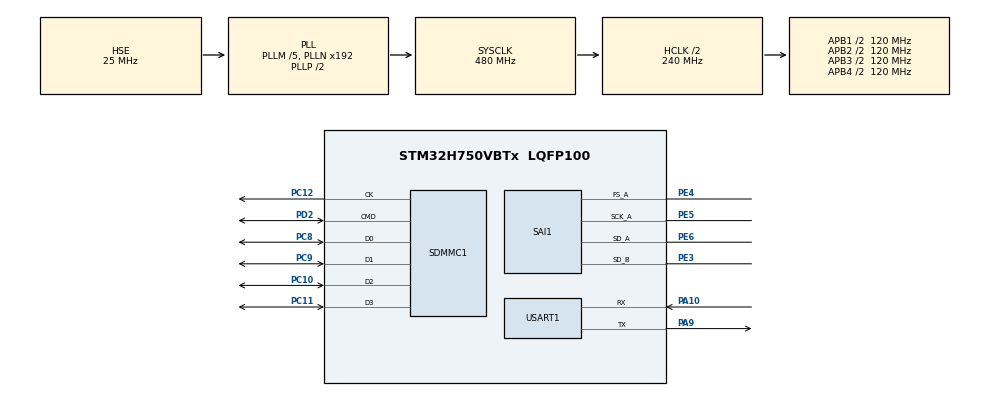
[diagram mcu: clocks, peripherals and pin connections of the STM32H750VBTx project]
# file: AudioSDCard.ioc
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CORTEX_M7.default_mode_Activation=1
Dma.Request0=USART1_TX
Dma.Request1=SAI1_A
Dma.Request2=SAI1_B
Dma.SAI1_A.1.Direction=DMA_MEMORY_TO_PERIPH
Dma.SAI1_A.1.EventEnable=DISABLE
Dma.SAI1_A.1.FIFOMode=DMA_FIFOMODE_DISABLE
Dma.SAI1_A.1.Instance=DMA1_Stream1
Dma.SAI1_A.1.MemDataAlignment=DMA_MDATAALIGN_WORD
Dma.SAI1_A.1.MemInc=DMA_MINC_ENABLE
Dma.SAI1_A.1.Mode=DMA_CIRCULAR
Dma.SAI1_A.1.PeriphDataAlignment=DMA_PDATAALIGN_WORD
Dma.SAI1_A.1.PeriphInc=DMA_PINC_DISABLE
Dma.SAI1_A.1.Polarity=HAL_DMAMUX_REQ_GEN_RISING
Dma.SAI1_A.1.Priority=DMA_PRIORITY_HIGH
Dma.SAI1_A.1.RequestNumber=1
Dma.SAI1_A.1.SignalID=NONE
Dma.SAI1_A.1.SyncEnable=DISABLE
Dma.SAI1_A.1.SyncPolarity=HAL_DMAMUX_SYNC_NO_EVENT
Dma.SAI1_A.1.SyncRequestNumber=1
Dma.SAI1_A.1.SyncSignalID=NONE
Dma.SAI1_B.2.Direction=DMA_PERIPH_TO_MEMORY
Dma.SAI1_B.2.EventEnable=DISABLE
Dma.SAI1_B.2.FIFOMode=DMA_FIFOMODE_DISABLE
Dma.SAI1_B.2.Instance=DMA1_Stream2
Dma.SAI1_B.2.MemDataAlignment=DMA_MDATAALIGN_WORD
Dma.SAI1_B.2.MemInc=DMA_MINC_ENABLE
Dma.SAI1_B.2.Mode=DMA_CIRCULAR
Dma.SAI1_B.2.PeriphDataAlignment=DMA_PDATAALIGN_WORD
Dma.SAI1_B.2.PeriphInc=DMA_PINC_DISABLE
Dma.SAI1_B.2.Polarity=HAL_DMAMUX_REQ_GEN_RISING
Dma.SAI1_B.2.Priority=DMA_PRIORITY_HIGH
Dma.SAI1_B.2.RequestNumber=1
Dma.SAI1_B.2.SignalID=NONE
Dma.SAI1_B.2.SyncEnable=DISABLE
Dma.SAI1_B.2.SyncPolarity=HAL_DMAMUX_SYNC_NO_EVENT
Dma.SAI1_B.2.SyncRequestNumber=1
Dma.SAI1_B.2.SyncSignalID=NONE
Dma.USART1_TX.0.Direction=DMA_MEMORY_TO_PERIPH
Dma.USART1_TX.0.EventEnable=DISABLE
Dma.USART1_TX.0.FIFOMode=DMA_FIFOMODE_DISABLE
Dma.USART1_TX.0.Instance=DMA1_Stream0
Dma.USART1_TX.0.MemDataAlignment=DMA_MDATAALIGN_BYTE
Dma.USART1_TX.0.MemInc=DMA_MINC_ENABLE
Dma.USART1_TX.0.Mode=DMA_NORMAL
Dma.USART1_TX.0.PeriphDataAlignment=DMA_PDATAALIGN_BYTE
Dma.USART1_TX.0.PeriphInc=DMA_PINC_DISABLE
Dma.USART1_TX.0.Polarity=HAL_DMAMUX_REQ_GEN_RISING
Dma.USART1_TX.0.Priority=DMA_PRIORITY_LOW
Dma.USART1_TX.0.RequestNumber=1
Dma.USART1_TX.0.SignalID=NONE
Dma.USART1_TX.0.SyncEnable=DISABLE
Dma.USART1_TX.0.SyncPolarity=HAL_DMAMUX_SYNC_NO_EVENT
Dma.USART1_TX.0.SyncRequestNumber=1
Dma.USART1_TX.0.SyncSignalID=NONE
FATFS.USE_DMA_CODE_SD=1
FATFS._USE_LFN=2
Mcu.Family=STM32H7
Mcu.Name=STM32H750VBTx
Mcu.Package=LQFP100
NVIC.DMA1_Stream0_IRQn=true\:0\:0\:false\:false\:true\:false\:true\:true
NVIC.DMA1_Stream1_IRQn=true\:0\:0\:false\:false\:true\:false\:true\:true
NVIC.DMA1_Stream2_IRQn=true\:0\:0\:false\:false\:true\:false\:true\:true
NVIC.PriorityGroup=NVIC_PRIORITYGROUP_4
NVIC.SAI1_IRQn=true\:0\:0\:false\:false\:true\:true\:true\:true
NVIC.SDMMC1_IRQn=true\:0\:0\:false\:false\:true\:true\:true\:true
NVIC.USART1_IRQn=true\:0\:0\:false\:false\:true\:true\:true\:true
PA10.Mode=Asynchronous
PA10.Signal=USART1_RX
PA9.Mode=Asynchronous
PA9.Signal=USART1_TX
PC10.GPIO_PuPd=GPIO_PULLUP
PC10.Mode=SD_4_bits_Wide_bus
PC10.Signal=SDMMC1_D2
PC11.GPIO_PuPd=GPIO_PULLUP
PC11.Mode=SD_4_bits_Wide_bus
PC11.Signal=SDMMC1_D3
PC12.GPIO_PuPd=GPIO_PULLUP
PC12.Mode=SD_4_bits_Wide_bus
PC12.Signal=SDMMC1_CK
PC8.GPIO_PuPd=GPIO_PULLUP
PC8.Mode=SD_4_bits_Wide_bus
PC8.Signal=SDMMC1_D0
PC9.GPIO_PuPd=GPIO_PULLUP
PC9.Mode=SD_4_bits_Wide_bus
PC9.Signal=SDMMC1_D1
PD2.GPIO_PuPd=GPIO_PULLUP
PD2.Mode=SD_4_bits_Wide_bus
PD2.Signal=SDMMC1_CMD
PE3.Mode=SAI_B_SyncSlave
PE3.Signal=SAI1_SD_B
PE4.Mode=SAI_A_Master
PE4.Signal=SAI1_FS_A
PE5.Mode=SAI_A_Master
PE5.Signal=SAI1_SCK_A
PE6.Mode=SAI_A_Master
PE6.Signal=SAI1_SD_A
PH0-OSC_IN\ (PH0).Mode=HSE-External-Oscillator
PH0-OSC_IN\ (PH0).Signal=RCC_OSC_IN
PH1-OSC_OUT\ (PH1).Mode=HSE-External-Oscillator
PH1-OSC_OUT\ (PH1).Signal=RCC_OSC_OUT
ProjectManager.HeapSize=0x200
ProjectManager.StackSize=0x400
ProjectManager.TargetToolchain=STM32CubeIDE
RCC.ADCFreq_Value=50390625
RCC.APB1Freq_Value=120000000
RCC.APB2Freq_Value=120000000
RCC.APB3Freq_Value=120000000
RCC.APB4Freq_Value=120000000
RCC.CortexFreq_Value=480000000
RCC.D1PPRE=RCC_APB3_DIV2
RCC.D2PPRE1=RCC_APB1_DIV2
RCC.D2PPRE2=RCC_APB2_DIV2
RCC.D3PPRE=RCC_APB4_DIV2
RCC.DIVM1=5
RCC.DIVM3=5
RCC.DIVN1=192
RCC.DIVN3=49
RCC.DIVP3=20
RCC.DIVQ1=7
RCC.HCLKFreq_Value=240000000
RCC.HPRE=RCC_HCLK_DIV2
RCC.PLL3FRACN=1245
RCC.PLLFRACN=0
RCC.PLLSourceVirtual=RCC_PLLSOURCE_HSE
RCC.SAI1CLockSelection=RCC_SAI1CLKSOURCE_PLL3
RCC.SYSCLKFreq_VALUE=480000000
RCC.SYSCLKSource=RCC_SYSCLKSOURCE_PLLCLK
RCC.USBFreq_Value=137142857.14285713
SAI1.AudioFrequency-SAI_A_Master=SAI_AUDIO_FREQUENCY_48K
SAI1.BasicDataSize-SAI_A_Master=SAI_PROTOCOL_DATASIZE_24BIT
SAI1.BasicDataSize-SAI_B_SyncSlave=SAI_PROTOCOL_DATASIZE_24BIT
SAI1.ErrorAudioFreq-SAI_A_Master=0.0 %
SAI1.InitProtocol-SAI_A_Master=Enable
SAI1.InitProtocol-SAI_B_SyncSlave=Enable
SAI1.Instance-SAI_A_Master=SAI$Index_Block_A
SAI1.Instance-SAI_B_SyncSlave=SAI$Index_Block_B
SAI1.MClockEnable=SAI_MASTERCLOCK_DISABLE
SAI1.OutputDrive-SAI_A_Master=SAI_OUTPUTDRIVE_ENABLE
SAI1.RealAudioFreq-SAI_A_Master=47.999 KHz
SAI1.VirtualMode-SAI_A_Master=VM_MASTER
SAI1.VirtualMode-SAI_B_SyncSlave=VM_SLAVE
SAI1.VirtualProtocol-SAI_A_BASIC=VM_BASIC_PROTOCOL
SAI1.VirtualProtocol-SAI_B_BASIC=VM_BASIC_PROTOCOL
SDMMC1.ClockDiv=6
USART1.VirtualMode-Asynchronous=VM_ASYNC
VP_FATFS_VS_SDIO.Mode=SDIO
VP_MEMORYMAP_VS_MEMORYMAP.Mode=CurAppReg
VP_SAI1_VP_$IpInstance_SAIA_SAI_BASIC.Mode=SAI_A_BASIC
VP_SAI1_VP_$IpInstance_SAIB_SAI_BASIC.Mode=SAI_B_BASIC
board=custom

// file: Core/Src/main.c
/* USER CODE BEGIN Header */
/**
  ******************************************************************************
  * @file           : main.c
  * @brief          : Main program body
  ******************************************************************************
  * @attention
  *
  * Copyright (c) 2025 STMicroelectronics.
  * All rights reserved.
  *
  * This software is licensed under terms that can be found in the LICENSE file
  * in the root directory of this software component.
  * If no LICENSE file comes with this software, it is provided AS-IS.
  *
  ******************************************************************************
  */
/* USER CODE END Header */
#include "main.h"
#include "fatfs.h"

/* USER CODE BEGIN Includes */

#include <stdio.h>
#include <string.h>

/* USER CODE END Includes */

SAI_HandleTypeDef hsai_BlockA1;
SAI_HandleTypeDef hsai_BlockB1;
DMA_HandleTypeDef hdma_sai1_a;
DMA_HandleTypeDef hdma_sai1_b;

SD_HandleTypeDef hsd1;

UART_HandleTypeDef huart1;
DMA_HandleTypeDef hdma_usart1_tx;

/* USER CODE BEGIN PV */

#define AUDIO_BUFFER_SIZE 2048

// --- BUFFER DI RAM D2 (Anti-Cache Area) ---
#define AUDIO_BUFFER_SIZE  2048
ALIGN_32BYTES (int32_t audioBuffer[AUDIO_BUFFER_SIZE]) __attribute__((section(".RAM_D2")));
ALIGN_32BYTES (char textBuffer[128]) __attribute__((section(".RAM_D2")));

// --- SD Card Variables ---
ALIGN_32BYTES (FATFS fs) __attribute__((section(".RAM_D2")));
FIL myFile;
FRESULT res;
UINT bytesWritten;

// Debug Counters
volatile uint32_t tx_cplt_count = 0;
volatile uint32_t rx_cplt_count = 0;
volatile uint32_t err_count = 0;

/* USER CODE END PV */

void SystemClock_Config(void);
void PeriphCommonClock_Config(void);
static void MPU_Config(void);
static void MX_GPIO_Init(void);
static void MX_DMA_Init(void);
static void MX_USART1_UART_Init(void);
static void MX_SAI1_Init(void);
static void MX_SDMMC1_SD_Init(void);

/* USER CODE BEGIN 0 */

// Print to UART
int _write(int fd, char* ptr, int len) {
  if (fd == 1 || fd == 2) {
    for (int i = 0; i < len; i++) {
      if (ptr[i] == '\n') {
        uint8_t cr = '\r';
        HAL_UART_Transmit(&huart1, &cr, 1, 10);
      }
      HAL_UART_Transmit(&huart1, (uint8_t *)&ptr[i], 1, 10);
    }
    return len;
  }
  return -1;
}

/* USER CODE END 0 */

int main(void)
{

  /* MPU Configuration--------------------------------------------------------*/
  MPU_Config();

  /* MCU Configuration--------------------------------------------------------*/

  /* Reset of all peripherals, Initializes the Flash interface and the Systick. */
  HAL_Init();

  /* Configure the system clock */
  SystemClock_Config();

  /* Configure the peripherals common clocks */
  PeriphCommonClock_Config();

  /* Initialize all configured peripherals */
  MX_GPIO_Init();
  MX_DMA_Init();
  MX_USART1_UART_Init();
  MX_SAI1_Init();
  MX_SDMMC1_SD_Init();
  MX_FATFS_Init();
  /* USER CODE BEGIN 2 */

  printf("\r\n=== SYSTEM START ===\r\n");
  printf("Buffer Addr: 0x%08lX\r\n", (uint32_t)audioBuffer);

  // --- STEP 1: TEST SD CARD ---
  printf("Mounting SD Card...\r\n");
  res = f_mount(&fs, "", 1); // 1 = Force Mount immediately

  if(res != FR_OK) {
    printf("(!) SD Mount FAILED! Code: %d\r\n", res);
    // Lanjut saja ke Audio meskipun SD gagal
  } else {
    printf("SD Mount SUCCESS.\r\n");

    // Test Write
    printf("Writing test.txt...\r\n");
    res = f_open(&myFile, "test.txt", FA_CREATE_ALWAYS | FA_WRITE);
    if(res == FR_OK) {
      sprintf(textBuffer, "Hello from STM32H7! Audio Project Phase 2.\r\n");
      f_write(&myFile, textBuffer, strlen(textBuffer), &bytesWritten);
      f_close(&myFile);
      printf("Write OK (%u bytes).\r\n", bytesWritten);
    } else {
      printf("(!) File Open Failed: %d\r\n", res);
    }
  }

  // --- STEP 2: START AUDIO ---
  printf("Starting Audio Loopback...\r\n");

  if(HAL_SAI_Receive_DMA(&hsai_BlockB1, (uint8_t*)audioBuffer, AUDIO_BUFFER_SIZE) != HAL_OK)
    printf("(!) RX DMA Failed\r\n");

  if(HAL_SAI_Transmit_DMA(&hsai_BlockA1, (uint8_t*)audioBuffer, AUDIO_BUFFER_SIZE) != HAL_OK)
    printf("(!) TX DMA Failed\r\n");

  uint32_t last_tx = 0, last_rx = 0;

  /* USER CODE END 2 */

  /* Infinite loop */
  /* USER CODE BEGIN WHILE */
  while (1)
  {
    // Monitoring setiap 1 detik
    uint32_t curr_tx = tx_cplt_count;
    uint32_t curr_rx = rx_cplt_count;

    printf("[%lu] Audio TX:%lu | RX:%lu | Err:%lu\r\n",
           HAL_GetTick(), (curr_tx - last_tx), (curr_rx - last_rx), err_count);

    last_tx = curr_tx;
    last_rx = curr_rx;

    HAL_Delay(1000);
    /* USER CODE END WHILE */

  }
}

void SystemClock_Config(void)
{
  RCC_OscInitTypeDef RCC_OscInitStruct = {0};
  RCC_ClkInitTypeDef RCC_ClkInitStruct = {0};

  /** Supply configuration update enable
  */
  HAL_PWREx_ConfigSupply(PWR_LDO_SUPPLY);

  /** Configure the main internal regulator output voltage
  */
  __HAL_PWR_VOLTAGESCALING_CONFIG(PWR_REGULATOR_VOLTAGE_SCALE0);

  while(!__HAL_PWR_GET_FLAG(PWR_FLAG_VOSRDY)) {}

  /** Initializes the RCC Oscillators according to the specified parameters
  * in the RCC_OscInitTypeDef structure.
  */
  RCC_OscInitStruct.OscillatorType = RCC_OSCILLATORTYPE_HSE;
  RCC_OscInitStruct.HSEState = RCC_HSE_ON;
  RCC_OscInitStruct.PLL.PLLState = RCC_PLL_ON;
  RCC_OscInitStruct.PLL.PLLSource = RCC_PLLSOURCE_HSE;
  RCC_OscInitStruct.PLL.PLLM = 5;
  RCC_OscInitStruct.PLL.PLLN = 192;
  RCC_OscInitStruct.PLL.PLLP = 2;
  RCC_OscInitStruct.PLL.PLLQ = 7;
  RCC_OscInitStruct.PLL.PLLR = 2;
  RCC_OscInitStruct.PLL.PLLRGE = RCC_PLL1VCIRANGE_2;
  RCC_OscInitStruct.PLL.PLLVCOSEL = RCC_PLL1VCOWIDE;
  RCC_OscInitStruct.PLL.PLLFRACN = 0;
  if (HAL_RCC_OscConfig(&RCC_OscInitStruct) != HAL_OK)
  {
    Error_Handler();
  }

  /** Initializes the CPU, AHB and APB buses clocks
  */
  RCC_ClkInitStruct.ClockType = RCC_CLOCKTYPE_HCLK|RCC_CLOCKTYPE_SYSCLK
                              |RCC_CLOCKTYPE_PCLK1|RCC_CLOCKTYPE_PCLK2
                              |RCC_CLOCKTYPE_D3PCLK1|RCC_CLOCKTYPE_D1PCLK1;
  RCC_ClkInitStruct.SYSCLKSource = RCC_SYSCLKSOURCE_PLLCLK;
  RCC_ClkInitStruct.SYSCLKDivider = RCC_SYSCLK_DIV1;
  RCC_ClkInitStruct.AHBCLKDivider = RCC_HCLK_DIV2;
  RCC_ClkInitStruct.APB3CLKDivider = RCC_APB3_DIV2;
  RCC_ClkInitStruct.APB1CLKDivider = RCC_APB1_DIV2;
  RCC_ClkInitStruct.APB2CLKDivider = RCC_APB2_DIV2;
  RCC_ClkInitStruct.APB4CLKDivider = RCC_APB4_DIV2;

  if (HAL_RCC_ClockConfig(&RCC_ClkInitStruct, FLASH_LATENCY_4) != HAL_OK)
  {
    Error_Handler();
  }
}

void PeriphCommonClock_Config(void)
{
  RCC_PeriphCLKInitTypeDef PeriphClkInitStruct = {0};

  /** Initializes the peripherals clock
  */
  PeriphClkInitStruct.PeriphClockSelection = RCC_PERIPHCLK_SAI1;
  PeriphClkInitStruct.PLL3.PLL3M = 5;
  PeriphClkInitStruct.PLL3.PLL3N = 49;
  PeriphClkInitStruct.PLL3.PLL3P = 20;
  PeriphClkInitStruct.PLL3.PLL3Q = 2;
  PeriphClkInitStruct.PLL3.PLL3R = 2;
  PeriphClkInitStruct.PLL3.PLL3RGE = RCC_PLL3VCIRANGE_2;
  PeriphClkInitStruct.PLL3.PLL3VCOSEL = RCC_PLL3VCOWIDE;
  PeriphClkInitStruct.PLL3.PLL3FRACN = 1245;
  PeriphClkInitStruct.Sai1ClockSelection = RCC_SAI1CLKSOURCE_PLL3;
  if (HAL_RCCEx_PeriphCLKConfig(&PeriphClkInitStruct) != HAL_OK)
  {
    Error_Handler();
  }
}

static void MX_SAI1_Init(void)
{

  hsai_BlockA1.Instance = SAI1_Block_A;
  hsai_BlockA1.Init.AudioMode = SAI_MODEMASTER_TX;
  hsai_BlockA1.Init.Synchro = SAI_ASYNCHRONOUS;
  hsai_BlockA1.Init.OutputDrive = SAI_OUTPUTDRIVE_ENABLE;
  hsai_BlockA1.Init.NoDivider = SAI_MCK_OVERSAMPLING_DISABLE;
  hsai_BlockA1.Init.MckOverSampling = SAI_MCK_OVERSAMPLING_DISABLE;
  hsai_BlockA1.Init.FIFOThreshold = SAI_FIFOTHRESHOLD_EMPTY;
  hsai_BlockA1.Init.AudioFrequency = SAI_AUDIO_FREQUENCY_48K;
  hsai_BlockA1.Init.SynchroExt = SAI_SYNCEXT_DISABLE;
  hsai_BlockA1.Init.MonoStereoMode = SAI_STEREOMODE;
  hsai_BlockA1.Init.CompandingMode = SAI_NOCOMPANDING;
  hsai_BlockA1.Init.TriState = SAI_OUTPUT_NOTRELEASED;
  if (HAL_SAI_InitProtocol(&hsai_BlockA1, SAI_I2S_STANDARD, SAI_PROTOCOL_DATASIZE_24BIT, 2) != HAL_OK)
  {
    Error_Handler();
  }
  hsai_BlockB1.Instance = SAI1_Block_B;
  hsai_BlockB1.Init.AudioMode = SAI_MODESLAVE_RX;
  hsai_BlockB1.Init.Synchro = SAI_SYNCHRONOUS;
  hsai_BlockB1.Init.OutputDrive = SAI_OUTPUTDRIVE_DISABLE;
  hsai_BlockB1.Init.MckOverSampling = SAI_MCK_OVERSAMPLING_DISABLE;
  hsai_BlockB1.Init.FIFOThreshold = SAI_FIFOTHRESHOLD_EMPTY;
  hsai_BlockB1.Init.SynchroExt = SAI_SYNCEXT_DISABLE;
  hsai_BlockB1.Init.MonoStereoMode = SAI_STEREOMODE;
  hsai_BlockB1.Init.CompandingMode = SAI_NOCOMPANDING;
  hsai_BlockB1.Init.TriState = SAI_OUTPUT_NOTRELEASED;
  if (HAL_SAI_InitProtocol(&hsai_BlockB1, SAI_I2S_STANDARD, SAI_PROTOCOL_DATASIZE_24BIT, 2) != HAL_OK)
  {
    Error_Handler();
  }

}

static void MX_SDMMC1_SD_Init(void)
{

  hsd1.Instance = SDMMC1;
  hsd1.Init.ClockEdge = SDMMC_CLOCK_EDGE_FALLING;
  hsd1.Init.ClockPowerSave = SDMMC_CLOCK_POWER_SAVE_DISABLE;
  hsd1.Init.BusWide = SDMMC_BUS_WIDE_1B;
  hsd1.Init.HardwareFlowControl = SDMMC_HARDWARE_FLOW_CONTROL_DISABLE;
  hsd1.Init.ClockDiv = 20;
  if (HAL_SD_Init(&hsd1) != HAL_OK)
  {
    Error_Handler();
  }

}

static void MX_USART1_UART_Init(void)
{

  huart1.Instance = USART1;
  huart1.Init.BaudRate = 115200;
  huart1.Init.WordLength = UART_WORDLENGTH_8B;
  huart1.Init.StopBits = UART_STOPBITS_1;
  huart1.Init.Parity = UART_PARITY_NONE;
  huart1.Init.Mode = UART_MODE_TX_RX;
  huart1.Init.HwFlowCtl = UART_HWCONTROL_NONE;
  huart1.Init.OverSampling = UART_OVERSAMPLING_16;
  huart1.Init.OneBitSampling = UART_ONE_BIT_SAMPLE_DISABLE;
  huart1.Init.ClockPrescaler = UART_PRESCALER_DIV1;
  huart1.AdvancedInit.AdvFeatureInit = UART_ADVFEATURE_NO_INIT;
  if (HAL_UART_Init(&huart1) != HAL_OK)
  {
    Error_Handler();
  }
  if (HAL_UARTEx_SetTxFifoThreshold(&huart1, UART_TXFIFO_THRESHOLD_1_8) != HAL_OK)
  {
    Error_Handler();
  }
  if (HAL_UARTEx_SetRxFifoThreshold(&huart1, UART_RXFIFO_THRESHOLD_1_8) != HAL_OK)
  {
    Error_Handler();
  }
  if (HAL_UARTEx_DisableFifoMode(&huart1) != HAL_OK)
  {
    Error_Handler();
  }

}

static void MX_DMA_Init(void)
{

  /* DMA controller clock enable */
  __HAL_RCC_DMA1_CLK_ENABLE();

  /* DMA interrupt init */
  /* DMA1_Stream0_IRQn interrupt configuration */
  HAL_NVIC_SetPriority(DMA1_Stream0_IRQn, 0, 0);
  HAL_NVIC_EnableIRQ(DMA1_Stream0_IRQn);
  /* DMA1_Stream1_IRQn interrupt configuration */
  HAL_NVIC_SetPriority(DMA1_Stream1_IRQn, 0, 0);
  HAL_NVIC_EnableIRQ(DMA1_Stream1_IRQn);
  /* DMA1_Stream2_IRQn interrupt configuration */
  HAL_NVIC_SetPriority(DMA1_Stream2_IRQn, 0, 0);
  HAL_NVIC_EnableIRQ(DMA1_Stream2_IRQn);

}

static void MX_GPIO_Init(void)
{

  /* GPIO Ports Clock Enable */
  __HAL_RCC_GPIOE_CLK_ENABLE();
  __HAL_RCC_GPIOH_CLK_ENABLE();
  __HAL_RCC_GPIOC_CLK_ENABLE();
  __HAL_RCC_GPIOA_CLK_ENABLE();
  __HAL_RCC_GPIOD_CLK_ENABLE();

}

/* USER CODE BEGIN 4 */

void HAL_SAI_TxCpltCallback(SAI_HandleTypeDef *hsai) { tx_cplt_count++; }
void HAL_SAI_RxCpltCallback(SAI_HandleTypeDef *hsai) { rx_cplt_count++; }
void HAL_SAI_ErrorCallback(SAI_HandleTypeDef *hsai) { err_count++; }

void MPU_Config(void)
{
  MPU_Region_InitTypeDef MPU_InitStruct = {0};

  /* Disables the MPU */
  HAL_MPU_Disable();

  // Region 0: Default RAM D1 (Cache Enabled)
  MPU_InitStruct.Enable = MPU_REGION_ENABLE;
  MPU_InitStruct.Number = MPU_REGION_NUMBER0;
  MPU_InitStruct.BaseAddress = 0x24000000;
  MPU_InitStruct.Size = MPU_REGION_SIZE_512KB;
  MPU_InitStruct.SubRegionDisable = 0x0;
  MPU_InitStruct.TypeExtField = MPU_TEX_LEVEL0;
  MPU_InitStruct.AccessPermission = MPU_REGION_FULL_ACCESS;
  MPU_InitStruct.DisableExec = MPU_INSTRUCTION_ACCESS_ENABLE;
  MPU_InitStruct.IsShareable = MPU_ACCESS_SHAREABLE;
  MPU_InitStruct.IsCacheable = MPU_ACCESS_CACHEABLE;
  MPU_InitStruct.IsBufferable = MPU_ACCESS_NOT_BUFFERABLE;
  HAL_MPU_ConfigRegion(&MPU_InitStruct);

  // Region 1: RAM D2 (Audio/SD Buffer) -> CACHE DISABLED!
  MPU_InitStruct.Enable = MPU_REGION_ENABLE;
  MPU_InitStruct.Number = MPU_REGION_NUMBER1;
  MPU_InitStruct.BaseAddress = 0x30000000;
  MPU_InitStruct.Size = MPU_REGION_SIZE_256KB;
  MPU_InitStruct.SubRegionDisable = 0x0;
  MPU_InitStruct.TypeExtField = MPU_TEX_LEVEL1;
  MPU_InitStruct.AccessPermission = MPU_REGION_FULL_ACCESS;
  MPU_InitStruct.DisableExec = MPU_INSTRUCTION_ACCESS_ENABLE;
  MPU_InitStruct.IsShareable = MPU_ACCESS_NOT_SHAREABLE;
  MPU_InitStruct.IsCacheable = MPU_ACCESS_NOT_CACHEABLE; // <--- PENTING
  MPU_InitStruct.IsBufferable = MPU_ACCESS_NOT_BUFFERABLE;
  HAL_MPU_ConfigRegion(&MPU_InitStruct);

  /* Enables the MPU */
  HAL_MPU_Enable(MPU_PRIVILEGED_DEFAULT);
}

/* USER CODE END 4 */

 /* MPU Configuration */

void Error_Handler(void)
{
  __disable_irq();
  while (1)
  {
  }
}
